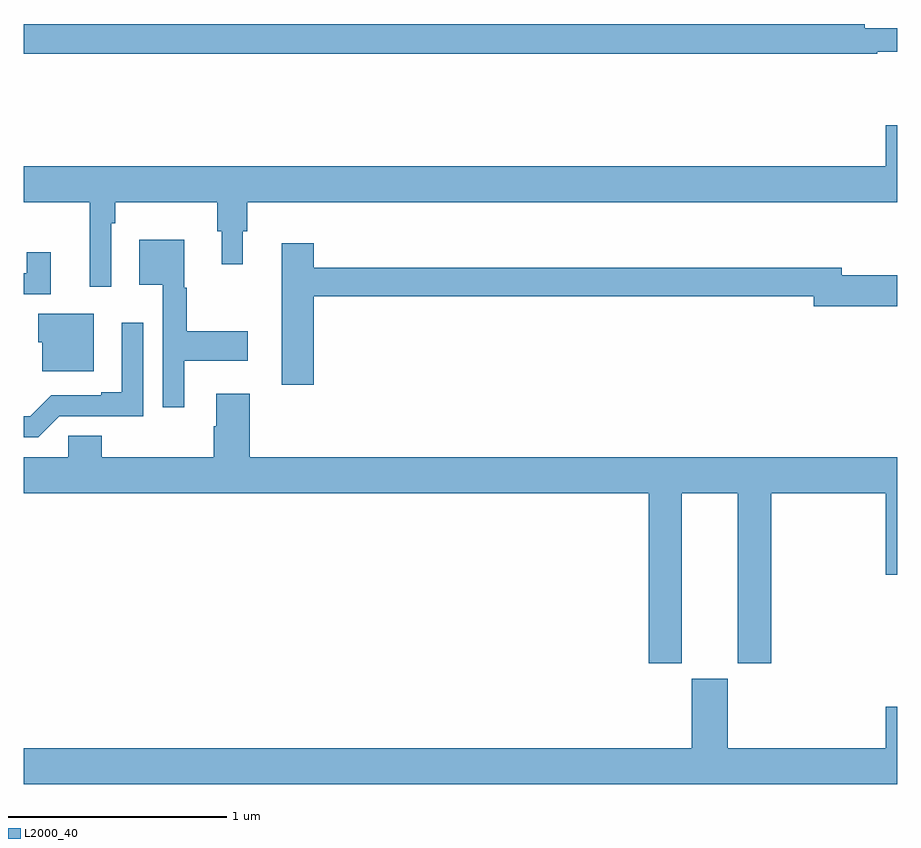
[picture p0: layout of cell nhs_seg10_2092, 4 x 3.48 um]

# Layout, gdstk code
import gdstk
lib = gdstk.Library(unit=1e-6, precision=1e-09)
def P(c, l, *ps):  # polygons
    for p in ps: c.add(gdstk.Polygon(p, *l))
L2000_40 = (2000, 40)

nhs_seg10_2092 = lib.new_cell('nhs_seg10_2092')
P(nhs_seg10_2092, L2000_40, [(224.908,1310.328),(225,1310.328),(225,1310.437),(224.852,1310.437),(224.852,1310.456),(221,1310.456),(221,1310.32),(224.908,1310.32)],
  [(221.4,1309.544),(221.42,1309.544),(221.42,1309.64),(221.887,1309.64),(221.887,1309.506),(221.906,1309.506),(221.906,1309.356),(222.004,1309.356),(222.004,1309.506),(222.023,1309.506),(222.023,1309.64),(225,1309.64),(225,1309.993),(224.948,1309.993),(224.948,1309.804),(221,1309.804),(221,1309.64),(221.303,1309.64),(221.303,1309.254),(221.4,1309.254)],
  [(221.734,1308.914),(222.025,1308.914),(222.025,1309.049),(221.746,1309.049),(221.746,1309.248),(221.734,1309.248),(221.734,1309.468),(221.528,1309.468),(221.528,1309.262),(221.637,1309.262),(221.637,1308.702),(221.734,1308.702)],
  [(222.329,1309.21),(224.618,1309.21),(224.618,1309.163),(225,1309.163),(225,1309.305),(224.746,1309.305),(224.746,1309.339),(222.329,1309.339),(222.329,1309.453),(222.182,1309.453),(222.182,1308.804),(222.329,1308.804)],
  [(221.123,1309.411),(221.014,1309.411),(221.014,1309.314),(221,1309.314),(221,1309.218),(221.123,1309.218)],
  [(221.32,1309.129),(221.066,1309.129),(221.066,1308.999),(221.084,1308.999),(221.084,1308.866),(221.32,1308.866)],
  [(221.163,1308.66),(221.547,1308.66),(221.547,1309.087),(221.45,1309.087),(221.45,1308.769),(221.354,1308.769),(221.354,1308.756),(221.127,1308.756),(221.031,1308.66),(221,1308.66),(221,1308.564),(221.067,1308.564)],
  [(224.014,1308.308),(224.27,1308.308),(224.27,1307.529),(224.423,1307.529),(224.423,1308.308),(224.948,1308.308),(224.948,1307.934),(225,1307.934),(225,1308.472),(222.035,1308.472),(222.035,1308.763),(221.882,1308.763),(221.882,1308.614),(221.87,1308.614),(221.87,1308.472),(221.357,1308.472),(221.357,1308.57),(221.205,1308.57),(221.205,1308.472),(221,1308.472),(221,1308.308),(223.862,1308.308),(223.862,1307.529),(224.014,1307.529)],
  [(225,1307.329),(224.948,1307.329),(224.948,1307.14),(224.224,1307.14),(224.224,1307.457),(224.06,1307.457),(224.06,1307.14),(221,1307.14),(221,1306.976),(225,1306.976)])

lib.write_gds('nhs_seg10_2092.gds')
